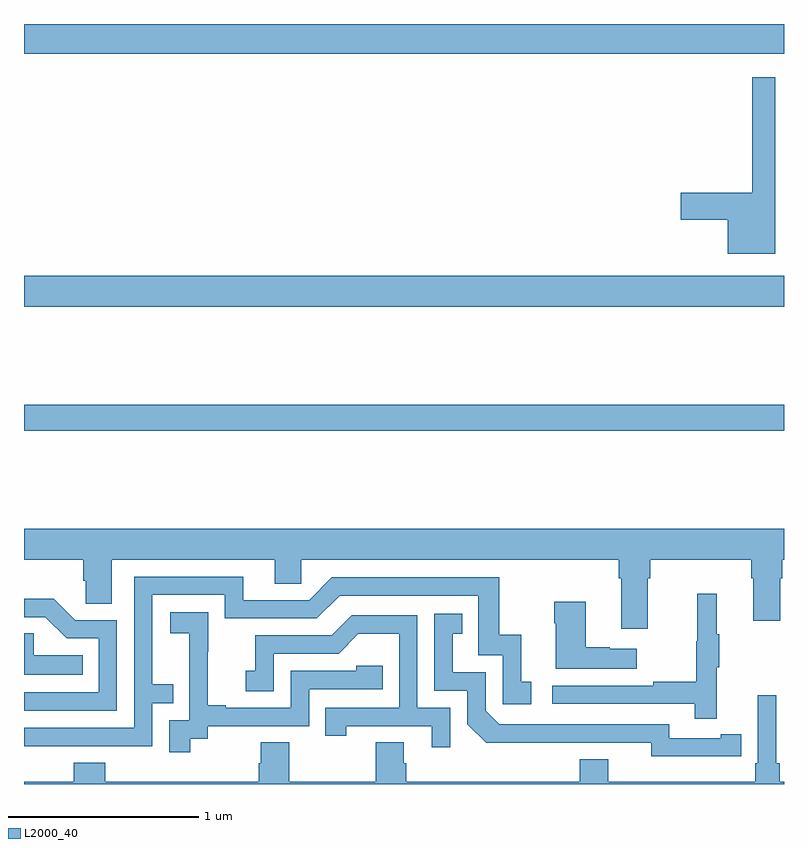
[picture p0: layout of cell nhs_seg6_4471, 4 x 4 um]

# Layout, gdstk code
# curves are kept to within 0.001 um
import gdstk
lib = gdstk.Library(unit=1e-6, precision=1e-09)
def R(c, l, rs):  # rectangles x0, y0, x1, y1
    for r in rs: c.add(gdstk.rectangle(r[:2], r[2:], *l))
def P(c, l, *ps):  # polygons
    for p in ps: c.add(gdstk.Polygon(p, *l))
L2000_40 = (2000, 40)

nhs_seg6_4471 = lib.new_cell('nhs_seg6_4471')
R(nhs_seg6_4471, L2000_40, [(375,937.36,379,937.496), (375,938.012,379,938.176), (375,939.344,379,939.5)])
P(nhs_seg6_4471, L2000_40, [(378.955,939.22),(378.834,939.22),(378.834,938.612),(378.456,938.612),(378.456,938.47),(378.704,938.47),(378.704,938.291),(378.955,938.291)],
  [(378.283,936.584),(378.296,936.584),(378.296,936.68),(378.827,936.68),(378.827,936.584),(378.839,936.584),(378.839,936.36),(378.979,936.36),(378.979,936.584),(378.992,936.584),(378.992,936.68),(379,936.68),(379,936.844),(375,936.844),(375,936.68),(375.311,936.68),(375.311,936.571),(375.324,936.571),(375.324,936.448),(375.463,936.448),(375.463,936.68),(376.319,936.68),(376.319,936.553),(376.458,936.553),(376.458,936.68),(378.131,936.68),(378.131,936.584),(378.143,936.584),(378.143,936.318),(378.283,936.318)],
  [(375.179,935.7),(375.675,935.7),(375.675,935.925),(375.785,935.925),(375.785,936.026),(375.675,936.026),(375.675,936.495),(376.056,936.495),(376.056,936.372),(376.542,936.372),(376.662,936.492),(377.391,936.492),(377.391,936.177),(377.52,936.177),(377.52,935.919),(377.671,935.919),(377.671,936.039),(377.618,936.039),(377.618,936.286),(377.5,936.286),(377.5,936.588),(376.62,936.588),(376.5,936.468),(376.153,936.468),(376.153,936.591),(375.579,936.591),(375.579,935.796),(375,935.796),(375,935.699)],
  [(378.647,936.115),(378.658,936.115),(378.658,936.289),(378.647,936.289),(378.647,936.502),(378.544,936.502),(378.544,936.252),(378.537,936.252),(378.537,936.038),(378.313,936.038),(378.313,936.018),(377.781,936.018),(377.781,935.922),(378.529,935.922),(378.529,935.844),(378.647,935.844)],
  [(375.489,936.363),(375.27,936.363),(375.157,936.476),(375,936.476),(375,936.378),(375.113,936.378),(375.224,936.267),(375.393,936.267),(375.393,935.982),(375,935.982),(375,935.886),(375.489,935.886)],
  [(378.226,936.211),(378.083,936.211),(378.083,936.221),(377.956,936.221),(377.956,936.46),(377.791,936.46),(377.791,936.347),(377.798,936.347),(377.798,936.107),(378.226,936.107)],
  [(375.874,935.737),(375.966,935.737),(375.966,935.805),(376.5,935.805),(376.5,936),(376.889,936),(376.889,936.123),(376.749,936.123),(376.749,936.096),(376.404,936.096),(376.404,935.901),(376.063,935.901),(376.063,935.914),(375.968,935.914),(375.968,936.197),(375.969,936.197),(375.969,936.403),(375.771,936.403),(375.771,936.293),(375.869,936.293),(375.869,936.065),(375.87,936.065),(375.87,935.835),(375.765,935.835),(375.765,935.667),(375.874,935.667)],
  [(378.668,935.646),(378.776,935.646),(378.776,935.762),(378.668,935.762),(378.668,935.742),(378.396,935.742),(378.396,935.814),(377.502,935.814),(377.43,935.886),(377.43,936.087),(377.257,936.087),(377.257,936.291),(377.306,936.291),(377.306,936.397),(377.16,936.397),(377.16,935.991),(377.334,935.991),(377.334,935.814),(377.432,935.717),(378.3,935.718),(378.3,935.645)],
  [(377.244,935.901),(377.07,935.901),(377.07,936.387),(376.724,936.387),(376.619,936.282),(376.216,936.282),(376.216,936.097),(376.167,936.097),(376.167,935.988),(376.314,935.988),(376.314,936.186),(376.656,936.186),(376.76,936.29),(376.974,936.29),(376.974,935.901),(376.585,935.901),(376.585,935.754),(376.696,935.754),(376.696,935.805),(377.147,935.805),(377.147,935.694),(377.244,935.694)],
  [(375.308,936.178),(375.051,936.178),(375.051,936.293),(375,936.293),(375,936.074),(375.308,936.074)],
  [(379,935.512),(378.977,935.512),(378.977,935.608),(378.958,935.608),(378.958,935.968),(378.861,935.968),(378.861,935.608),(378.848,935.608),(378.848,935.512),(378.076,935.512),(378.076,935.629),(377.924,935.629),(377.924,935.512),(377.012,935.512),(377.012,935.61),(376.999,935.61),(376.999,935.72),(376.852,935.72),(376.852,935.512),(376.395,935.512),(376.395,935.72),(376.247,935.72),(376.247,935.61),(376.235,935.61),(376.235,935.512),(375.428,935.512),(375.428,935.611),(375.263,935.611),(375.263,935.512),(375,935.512),(375,935.5),(379,935.5)])

lib.write_gds('nhs_seg6_4471.gds')
